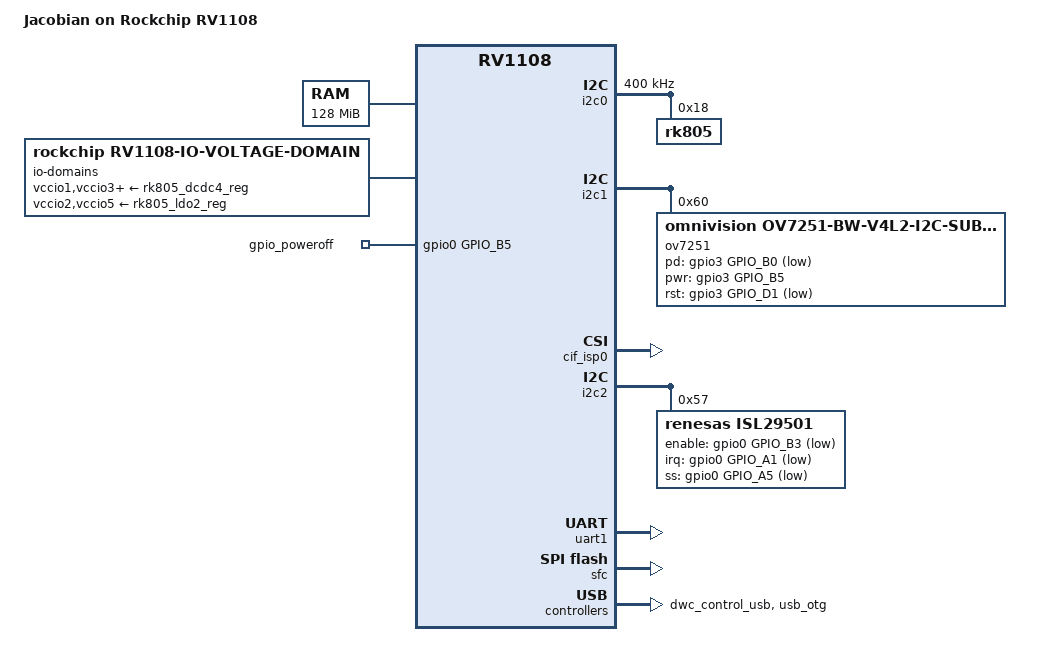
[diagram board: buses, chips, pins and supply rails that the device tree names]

/dts-v1/;

#include "rv1108.dtsi"

/ {
	model = "Jacobian on Rockchip RV1108";
	compatible = "rockchip,rv1108-jacobian", "rockchip,rv1108";

	memory {
		device_type = "memory";
		reg = <0x60000000 0x08000000>;
	};

	fiq-debugger {
		status = "okay";
		rockchip,serial-id = <2>;
		pinctrl-0 = <&uart2m0_xfer>;
	};

	chosen {
		//linux,stdout-path = "serial2:1500000n8"; /* UART2 as default debug port */
		bootargs = "console_enable=1";
	};

	ion {
		compatible = "rockchip,ion";
		#address-cells = <1>;
		#size-cells = <0>;

		/* memory region for dsp pool, start from 0x62000000 */
		dsp {
			compatible = "rockchip,ion-heap";
			rockchip,ion_heap = <2>;
			reg = <0x67000000 0x1000000>; /* 16MB */
		};
		ion_cma: rockchip,ion-heap@4 { /* CMA HEAP */
			compatible = "rockchip,ion-heap";
			rockchip,ion_heap = <4>;
			reg = <0x00000000 0x04400000>; /* 68MB */
		};
	};

	io-domains {
		compatible = "rockchip,rv1108-io-voltage-domain";
		rockchip,grf = <&grf>;
		rockchip,pmugrf =<&pmugrf>;

		/* GRF_IO_VSEL */
		status = "okay";
		vccio1-supply = <&rk805_dcdc4_reg>;
		vccio2-supply = <&rk805_ldo2_reg>;
		vccio3-supply = <&rk805_dcdc4_reg>;
		vccio5-supply = <&rk805_ldo2_reg>;

		/* PMU_GRF_IO_VSEL */
		pmu-supply =<&rk805_dcdc4_reg>;
	};

	/* pmic_sleep */
	gpio_poweroff {
		compatible = "gpio-poweroff";
		gpios = <&gpio0 GPIO_B5 GPIO_ACTIVE_HIGH>;
		status = "okay";
	};
};

&clk_core_dvfs_table {
	operating-points = <
		/* KHz	  uV */
		408000 975000
		600000 975000
		816000 1025000
		1008000 1150000
		>;
	lkg_adjust_volt_table = <
		/*lkg(mA)  volt(uV)*/
		60         25000
		>;
	status = "okay";
};

&i2c0 {
	status = "okay";

	i2c-scl-rising-time-ns = <275>;
	i2c-scl-falling-time-ns = <16>;
	clock-frequency = <400000>;
	nack-retry = <1>;

	rk805: rk805@18 {
		reg = <0x18>;
		status = "okay";
	};
};

&i2c1 {
	// OmniVision OV7251
	status = "okay";
	ov7251: camera-module@60 {
		status = "okay";
		compatible = "omnivision,ov7251-bw-v4l2-i2c-subdev";
		reg = <0x60>; /*SC_SCCB_ID1 (default 0xC0)*/
		device_type = "v4l2-i2c-subdev";
		clocks = <&clk_cif_out>; //MCLK
		//clocks = <&clk_mipicsi_out>;  //debug
		clock-names = "clk_cif_out";
		//clock-names = "clk_mipicsi_out";  //debug
		pinctrl-names = "rockchip,camera_default","rockchip,camera_sleep";
		pinctrl-0 = <&cif_dvp_clk_out>; //CIF_CLKOUT is used for MCLK of 7251
		pinctrl-1 = <&cif_dvp_clk_out_sleep>;

		rockchip,pd-gpio = <&gpio3 GPIO_B0 GPIO_ACTIVE_LOW>;
		rockchip,pwr-gpio = <&gpio3 GPIO_B5 GPIO_ACTIVE_HIGH>;
		rockchip,rst-gpio = <&gpio3 GPIO_D1 GPIO_ACTIVE_LOW>;

		rockchip,camera-module-mclk-name = "clk_cif_out";
		//rockchip,camera-module-mclk-name = "clk_mipicsi_out"; //debug
		rockchip,camera-module-facing = "back";
		rockchip,camera-module-name = "NAVA";
		rockchip,camera-module-len-name = "FISHEYE";
		rockchip,camera-module-fov-h = "128";
		rockchip,camera-module-fov-v = "55.7";
		rockchip,camera-module-orientation = <0>;
		rockchip,camera-module-iq-flip = <0>;
		rockchip,camera-module-iq-mirror = <0>;
		rockchip,camera-module-flip = <0>;
		rockchip,camera-module-mirror = <0>;
		/* resolution.w, resolution.h, defrect.left, defrect.top, defrect.w, defrect.h */
		rockchip,camera-module-defrect0 = <640 480 0 0 640 480>;
		rockchip,camera-module-flash-support = <0>;
		rockchip,camera-module-mipi-dphy-index = <0>;
	};
	/* MIPI configuration
	*MIPI_CSI_D0P,MIPI_CSI_D0N: No pinmux
	*MIPI_CSI_D1P,MIPI_CSI_D1N: No pinmux
	*MIPI_CSI_CLKP,MIPI_CSI_CLKN: No pinmux
	*GPIO3_D1/CIF_PDN -->XSHUTDOWN: GPIO. where is the pinmux setting? rockchip,pd-gpio?
	*GPIO3_D2/CIF_CLKOUT --> MCLK:cif_dvp_clk_out  
	*SID(SCCB ID select input): OV9282's.  OV7251 doesn't have it
	*/
	//mipi_cam_pins {
		//mipi_cam_xshutdown: mipi-cam-xshutdown {
		//	rockchip,pins = <3 GPIO_D1 RK_FUNC_GPIO &pcfg_pull_none>;
		//};
		//mipi_cam_power_en: mipi-cam-power-en {
		//	rockchip,pins = <3 GPIO_B5 RK_FUNC_GPIO &pcfg_pull_up>;
		//};
	//};
};

&cif_isp0 {
        rockchip,camera-modules-attached = <&ov7251>;
        status = "okay";
};

&i2c2 {
	// Renesas ISL29501
	status = "okay";
	isl29501@57{
		compatible = "renesas,isl29501";
		//pinctrl-names = "default";
		pinctrl-1 = <&pinctrl_isl29501_cen &pinctrl_isl29501_irq &pinctrl_isl29501_ss>;
		reg = <0x57>;
		enable-gpios = <&gpio0 GPIO_B3 GPIO_ACTIVE_LOW>; /* Chip Enable, active low */
		irq-gpios = <&gpio0 GPIO_A1 GPIO_ACTIVE_LOW>; /* IRQ GPIO, active low */
		ss-gpios = <&gpio0 GPIO_A5 GPIO_ACTIVE_LOW>; /* SS GPIO, active HIGH->LOW edge */
			//enable-gpios = <&pioA 34 GPIO_ACTIVE_LOW>; /* Chip Enable, active low */
			//irq-gpios = <&pioA 33 GPIO_ACTIVE_LOW>; /* IRQ GPIO, active low */
			//ss-gpios = <&pioA 32 GPIO_ACTIVE_LOW>; /* SS GPIO, active HIGH->LOW edge */
	};
	/* Kernel space IIO driver
	*I2C2_SDA/I2C2_SCL: i2c2m1_xfer
	*GPIO0_B3 -->CEN0: need pinmux setting
	*GPIO0_A1/SDMMC0_DET-->IRQ0: need pinmux setting
	*GPIO0_A5/CLK_WIFI_OUT -->SS0: 
	*/
	gpio_isl29501_pins{
		pinctrl_isl29501_cen: isl29501_cen {
			rockchip,pins = <0 GPIO_B3 RK_FUNC_GPIO &pcfg_pull_none>;
		};
		pinctrl_isl29501_irq: isl29501_irq {
			rockchip,pins = <0 GPIO_A1 RK_FUNC_GPIO &pcfg_pull_none>;
		};
		pinctrl_isl29501_ss: isl29501_ss {
			rockchip,pins = <0 GPIO_A5 RK_FUNC_GPIO &pcfg_pull_none>;
		};
	};
};

&uart1 {
	status = "okay";
	pinctrl-0 = <&uart1_xfer>;
};

&sfc {
	status = "okay";
};

#include "rv1108-rk805-v12.dtsi" /* rk805 v12 */

&dwc_control_usb {
	rockchip,remote_wakeup;
	rockchip,usb_irq_wakeup;
	status = "okay";
};

&usb_otg {
	rockchip,delay-en-diepint-nak-quirk;
	rockchip,high-bandwidth;
	status = "okay";
};
